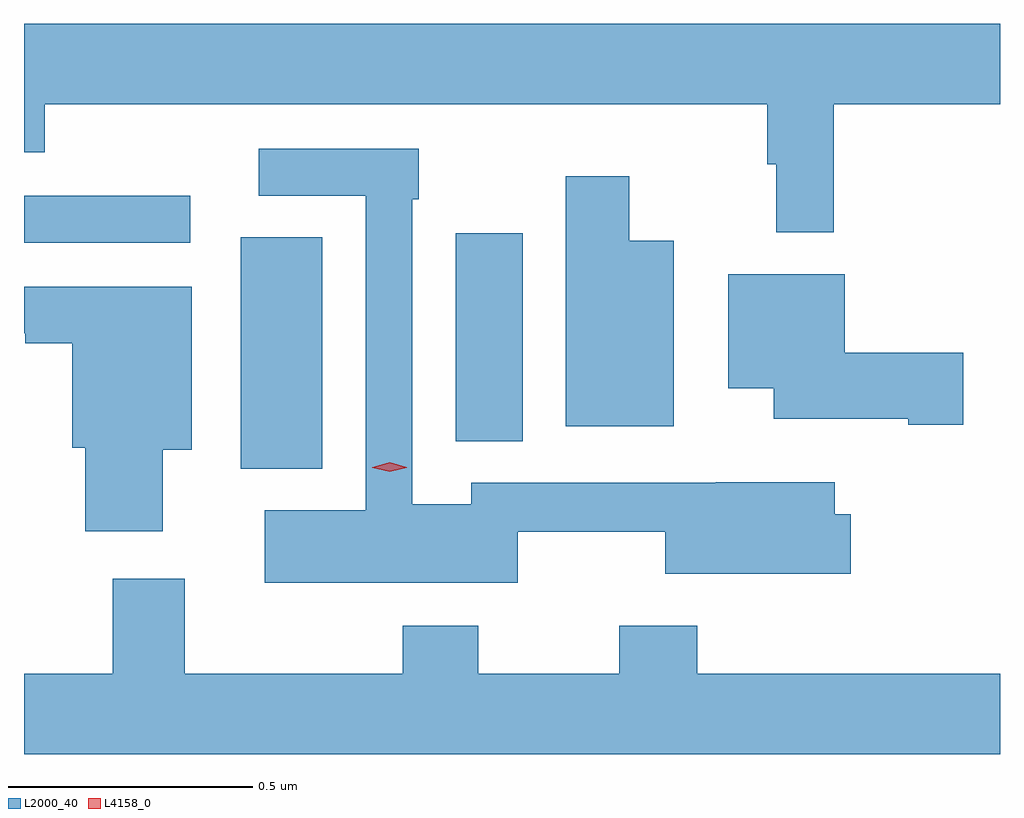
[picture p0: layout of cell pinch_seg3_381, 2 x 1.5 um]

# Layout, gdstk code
import gdstk
lib = gdstk.Library(unit=1e-6, precision=1e-09)
def R(c, l, rs):  # rectangles x0, y0, x1, y1
    for r in rs: c.add(gdstk.rectangle(r[:2], r[2:], *l))
def P(c, l, *ps):  # polygons
    for p in ps: c.add(gdstk.Polygon(p, *l))
L2000_40 = (2000, 40)
L4158_0 = (4158, 0)

pinch_seg3_381 = lib.new_cell('pinch_seg3_381')
R(pinch_seg3_381, L2000_40, [(995.642,694.841,995.809,695.315), (996.083,694.897,996.22,695.323), (995.198,695.304,995.539,695.4)])
P(pinch_seg3_381, L2000_40, [(996.857,695.588),(997.198,695.588),(997.198,695.752),(995.198,695.752),(995.198,695.489),(995.241,695.489),(995.241,695.588),(996.721,695.588),(996.721,695.465),(996.74,695.465),(996.74,695.325),(996.857,695.325)],
  [(996.21,694.711),(996.512,694.711),(996.512,694.625),(996.892,694.625),(996.892,694.747),(996.859,694.747),(996.859,694.813),(996.616,694.813),(996.616,694.812),(996.114,694.812),(996.114,694.768),(995.994,694.768),(995.994,695.393),(996.007,695.393),(996.007,695.496),(995.679,695.496),(995.679,695.4),(995.898,695.4),(995.898,694.756),(995.691,694.756),(995.691,694.607),(996.21,694.607)],
  [(996.529,695.308),(996.438,695.308),(996.438,695.44),(996.308,695.44),(996.308,694.928),(996.529,694.928)],
  [(997.123,695.078),(996.88,695.078),(996.88,695.239),(996.641,695.239),(996.641,695.006),(996.734,695.006),(996.734,694.943),(997.01,694.943),(997.01,694.931),(997.123,694.931)],
  [(995.482,694.88),(995.542,694.88),(995.542,695.214),(995.198,695.214),(995.198,695.118),(995.201,695.118),(995.201,695.098),(995.297,695.098),(995.297,694.884),(995.324,694.884),(995.324,694.713),(995.482,694.713)],
  [(997.198,694.42),(996.578,694.42),(996.578,694.519),(996.418,694.519),(996.418,694.42),(996.129,694.42),(996.129,694.519),(995.974,694.519),(995.974,694.42),(995.527,694.42),(995.527,694.615),(995.38,694.615),(995.38,694.42),(995.198,694.42),(995.198,694.256),(997.198,694.256)])
P(pinch_seg3_381, L4158_0, [(995.947,694.834),(995.912,694.843),(995.912,694.844),(995.912,694.844),(995.947,694.854),(995.982,694.844),(995.982,694.844),(995.982,694.843)])

lib.write_gds('pinch_seg3_381.gds')
